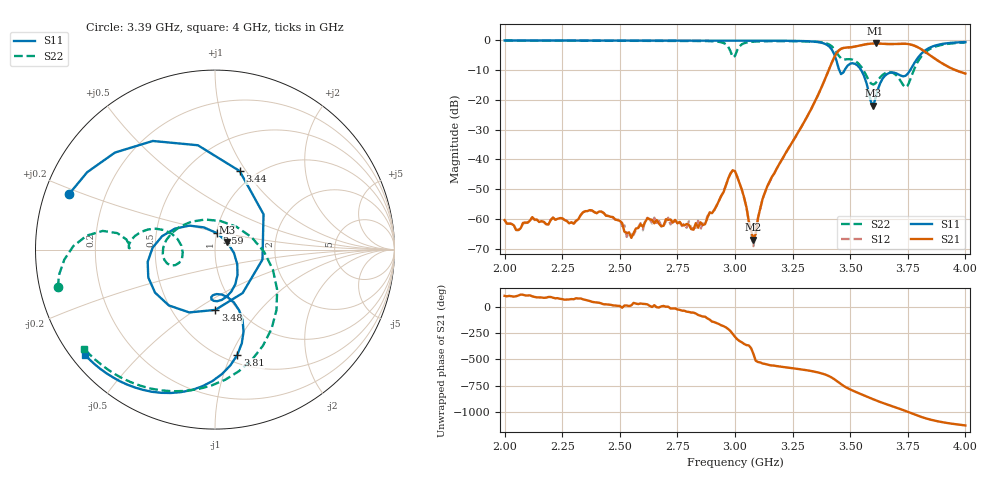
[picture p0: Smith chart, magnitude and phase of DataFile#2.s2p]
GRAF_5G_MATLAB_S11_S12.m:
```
%% LIMPIEZA
clc; clear; close all;

%% 1. LEER ARCHIVO
filename = 'DataFile#2.s2p';
s = sparameters(filename);

f = s.Frequencies;

S11 = squeeze(s.Parameters(1,1,:));
S12 = squeeze(s.Parameters(1,2,:));

%% 2. CONVERSIONES
S11_dB = 20*log10(abs(S11));
S12_dB = 20*log10(abs(S12));

% Métricas
IL = -S12_dB;      % Pérdida de inserción
RL = -S11_dB;      % Return Loss

% VSWR
S11_mag = abs(S11);
VSWR = (1 + S11_mag) ./ (1 - S11_mag);

%% 3. GRAFICAS S11 Y S12
%% Calculo de -3 dB usando S12
mag = S12_dB;

[peak, idx] = max(mag);
f0 = f(idx);

nivel_3dB = peak - 3;

indices = find(mag >= nivel_3dB);

f_low = f(indices(1));
f_high = f(indices(end));

%% Obtener valores en S11 en esas frecuencias
S11_f0   = interp1(f, S11_dB, f0);
S11_flow = interp1(f, S11_dB, f_low);
S11_fhigh= interp1(f, S11_dB, f_high);

%% GRAFICAS
figure;

% ---- S11 ----
subplot(2,1,1)
plot(f, S11_dB, 'b', 'LineWidth', 1.5); hold on
grid on
set(gca,'XScale','log')

% Líneas verticales
xline(f0,'--g')
xline(f_low,'--r')
xline(f_high,'--r')

% Marcadores (tipo cursor)
plot(f0, S11_f0, 'go','MarkerFaceColor','g')
plot(f_low, S11_flow, 'ro','MarkerFaceColor','r')
plot(f_high, S11_fhigh, 'ro','MarkerFaceColor','r')

% Etiquetas con valores
%text(f0, S11_f0, sprintf('  f0=%.2f Hz',f0))
%text(f_low, S11_flow, sprintf('  %.2f Hz',f_low))
%text(f_high, S11_fhigh, sprintf('  %.2f Hz',f_high))

xlabel('Frecuencia (Hz)')
ylabel('|S11| (dB)')
title('S11 (Adaptación)')

% ---- S12 ----
subplot(2,1,2)
plot(f, S12_dB, 'r','LineWidth',1.5); hold on
set(gca,'XScale','log')
grid on

% Línea -3 dB
yline(nivel_3dB,'--k','-3 dB')

% Líneas verticales
xline(f0,'--g')
xline(f_low,'--r')
xline(f_high,'--r')

% Marcadores
plot(f0, peak, 'go','MarkerFaceColor','g')
plot(f_low, nivel_3dB, 'ro','MarkerFaceColor','r')
plot(f_high, nivel_3dB, 'ro','MarkerFaceColor','r')

% Etiquetas
%text(f0, peak, sprintf('  f0=%.2f Hz',f0))
%text(f_low, nivel_3dB, sprintf('  %.2f Hz',f_low))
%text(f_high, nivel_3dB, sprintf('  %.2f Hz',f_high))

xlabel('Frecuencia (Hz)')
ylabel('|S12| (dB)')
title('S12 (Transmisión)')
legend('S12','-3 dB','Location','best')

%% Sincronizar ejes
linkaxes(findall(gcf,'Type','axes'),'x')

%% Mostrar resultados
fprintf('f0 = %.2f Hz\n', f0);
fprintf('f_low = %.2f Hz\n', f_low);
fprintf('f_high = %.2f Hz\n', f_high);

%% 4. CALCULO DE Q Y BW
mag = S12_dB;

[peak, idx] = max(mag);
f0 = f(idx);

nivel_3dB = peak - 3;

indices = find(mag >= nivel_3dB);

f_low = f(indices(1));
f_high = f(indices(end));

BW = f_high - f_low;
BW = 0.38E9
Q = f0 / BW;

%% 5. MOSTRAR RESULTADOS
fprintf('----- Results -----\n');
fprintf('Center frequency %.2f Hz\n', f0);
fprintf('Bandwidth (-3 dB): %.2f Hz\n', BW);
fprintf('Q factor: %.2f\n', Q);

%% 6. GRAFICA IL CON ANALISIS DE BANDA
figure;
plot(f, IL, 'r','LineWidth',1.5); hold on
set(gca,'XScale','log')
grid on

% Línea -3 dB (en IL es positivo)
yline(-nivel_3dB,'--k')

% Líneas verticales
xline(f0,'--g')
xline(f_low,'--b')
xline(f_high,'--b')

% ---- Marcadores (puntos) ----
% Punto central
plot(f0, IL(idx), 'go','MarkerFaceColor','g','MarkerSize',8)

% Puntos de corte (-3 dB)
plot(f_low, -nivel_3dB, 'bo','MarkerFaceColor','b','MarkerSize',8)
plot(f_high, -nivel_3dB, 'bo','MarkerFaceColor','b','MarkerSize',8)

xlabel('Frecuencia (Hz)')
ylabel('Pérdida de Inserción (dB)')
title('Pérdida de Inserción y Ancho de Banda')
legend('IL','-3 dB','Location','best')

%% Encontrar rango donde VSWR < 2
idx_vswr = find(VSWR < 2);

% Verificar que exista ese rango
if ~isempty(idx_vswr)
    f_low_vswr = f(idx_vswr(1));
    f_high_vswr = f(idx_vswr(end));
else
    disp('No hay rango donde VSWR < 2');
end

%% Grafica
figure;
plot(f, VSWR, 'k', 'LineWidth', 1.5); hold on
set(gca,'XScale','log')
grid on

% Línea de referencia VSWR = 2
yline(2, '--b', 'VSWR = 2');

% Resaltar región válida
if ~isempty(idx_vswr)
    area(f(idx_vswr), VSWR(idx_vswr), ...
        'FaceColor',[1 0 0], 'EdgeColor','none', 'FaceAlpha',0.5);
end

xlabel('Frecuencia (Hz)')
ylabel('VSWR')
title('VSWR vs Frecuencia (Región VSWR < 2 resaltada)')
legend('VSWR','Límite VSWR=2','Región válida','Location','best')

%% Mostrar rango en consola
if ~isempty(idx_vswr)
    fprintf('Rango con VSWR < 2:\n');
    fprintf('Desde %.2f Hz hasta %.2f Hz\n', f_low_vswr, f_high_vswr);
end



%% FIGURA GENERAL
figure;

%% ---- 1. S11 ----
subplot(2,2,1)
plot(f, S11_dB, 'b', 'LineWidth', 1.5, 'DisplayName','S11'); hold on
set(gca,'XScale','log')
grid on

xline(f0,'--g','DisplayName','f_0')
xline(f_low,'--r','DisplayName','f_{low}')
xline(f_high,'--r','DisplayName','f_{high}')

plot(f0, S11_f0, 'go','MarkerFaceColor','g','DisplayName','Point f_0')
plot(f_low, S11_flow, 'ro','MarkerFaceColor','r','DisplayName','Cut point')
plot(f_high, S11_fhigh, 'ro','MarkerFaceColor','r','HandleVisibility','off')

title('S11')
xlabel('Frequency (Hz)')
ylabel('|S11| (dB)')
legend show

%% ---- 2. S12 ----
subplot(2,2,2)
plot(f, S12_dB, 'r', 'LineWidth', 1.5, 'DisplayName','S12'); hold on
set(gca,'XScale','log')
grid on

yline(nivel_3dB,'--k','DisplayName','-3 dB')

xline(f0,'--g','DisplayName','f_0')
xline(f_low,'--b','DisplayName','f_{low}')
xline(f_high,'--b','HandleVisibility','off')

plot(f0, peak, 'go','MarkerFaceColor','g','DisplayName','Point f_0')
plot(f_low, nivel_3dB, 'bo','MarkerFaceColor','b','DisplayName','Cut point')
plot(f_high, nivel_3dB, 'bo','MarkerFaceColor','b','HandleVisibility','off')

title('S12')
xlabel('Frequency (Hz)')
ylabel('|S12| (dB)')
legend show

%% ---- 3. IL ----
subplot(2,2,3)
plot(f, IL, 'r','LineWidth',1.5,'DisplayName','IL'); hold on
set(gca,'XScale','log')
grid on

yline(-nivel_3dB,'--k','DisplayName','-3 dB')

xline(f0,'--g','DisplayName','f_0')
xline(f_low,'--b','DisplayName','f_{low}')
xline(f_high,'--b','HandleVisibility','off')

plot(f0, IL(idx), 'go','MarkerFaceColor','g','DisplayName','Point f_0')
plot(f_low, -nivel_3dB, 'bo','MarkerFaceColor','b','DisplayName','Cut point')
plot(f_high, -nivel_3dB, 'bo','MarkerFaceColor','b','HandleVisibility','off')

title('Insertion Loss')
xlabel('Frequency (Hz)')
ylabel('IL (dB)')
legend show

%% ---- 4. VSWR ----
subplot(2,2,4)
plot(f, VSWR, 'k','LineWidth',1.5,'DisplayName','VSWR'); hold on
set(gca,'XScale','log')
grid on

yline(2,'--b','DisplayName','VSWR = 2')

if ~isempty(idx_vswr)
    area(f(idx_vswr), VSWR(idx_vswr),10, ...
        'FaceColor',[1 0 0], ...
        'EdgeColor','none', ...
        'FaceAlpha',0.6, ...
        'DisplayName','VSWR < 2');
end

title('VSWR')
xlabel('Frequency (Hz)')
ylabel('VSWR (u/u)')
legend show

%% SINCRONIZAR EJES
linkaxes(findall(gcf,'Type','axes'),'x')



%% 8. EXPORTAR A EXCEL
T = table(f, S11_dB, S12_dB, IL, RL, VSWR);
T.Properties.VariableNames = {'Frecuencia_Hz','S11_dB','S12_dB','InsertionLoss_dB','ReturnLoss_dB','VSWR'};

writetable(T, 'C:\Users\JUBITO\Videos\Resultados_Sparam.xlsx');
disp('Datos exportados correctamente a Excel')
```
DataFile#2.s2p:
! 3/9/2023 9:26:57 AM
! D:\FILTRO\DATAFILE#2.S2P
! CHANNEL.1
! TR.MEASUREMENT
! CORRECTED.DATA
! RF.CORRECTION: FULL.TWO.PORT.CAL.PORT.1.2
! AVERAGING.OFF
! IF.BANDWIDTH: 1KHZ
! SWEEPTYPE:  FREQ.SWEEP(Linear)
! Reference Plane Port Info
! PORT:  PORT1  PORT2
! DISTANCE:  0  m  0  m
! TIME:  0  s  0  s
! PHASE.OFFSET:  0 deg  0 deg
! LOSS:  0  dB  0  dB
! REF.LOSS:  0  dB  0  dB
! REF.FREQ:  0  Hz  0  Hz
! Power Info
! POWER:  5  dBm  5  dBm
! EFF.POWER:  5  dBm  5  dBm
! SOURCE.ATTEN:  0  dB  0  dB
! TEST.ATTEN:  0  dB  0  dB
# GHZ S RI R 50.0
! FREQ.GHZ  S11RE  S11IM  S21RE  S21IM  S12RE  S12IM  S22RE  S22IM
!; PortSelection: Port_12
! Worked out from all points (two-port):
!   201 points, 2 GHz to 4 GHz, reference 50 ohm
!   highest |S21| = -1.09 dB at 3.61 GHz (marker M1); lowest = -66.9 dB at 3.08 GHz (marker M2)
!   |S21| within 3 dB of the highest: 3.444 GHz to 3.829 GHz (385.3 MHz wide, 10.6 % of centre)
!   lowest |S11| = -22.0 dB at 3.6 GHz (marker M3), VSWR 1.17, Z = 57 + j4.83 ohm
!   |S11| at or under -10 dB: 3.453 GHz to 3.476 GHz (23.52 MHz wide, 0.679 % of centre); 3.547 GHz to 3.761 GHz (213.7 MHz wide, 5.85 % of centre)
!   |S22| runs from -15.8 to -0.1 dB; largest |S21 - S12| = 0.0039
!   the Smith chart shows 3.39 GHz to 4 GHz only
!   S11 on the Smith chart (normalised r, x): 3.39 GHz: 0.07, +0.18; 3.44 GHz: 0.84, +0.94; 3.48 GHz: 0.80, -0.61; 3.59 GHz: 1.00, +0.19; 3.81 GHz: 0.58, -1.06; 4 GHz: 0.04, -0.35
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2  0.945 0.295  -0.000281 0.000914  -0.000281 0.00092  0.9491 0.263
3  -0.0331 -0.9862  0.00154 0.00616  0.00154 0.00605  0.0823 -0.5393
3.08  -0.2362 -0.9573  1.65e-05 -0.000451  1.98e-05 -0.000349  -0.1076 -0.9397
3.39  -0.8148 0.3072  0.0492 0.2129  0.0498 0.2139  -0.8769 -0.2102
3.44  0.1376 0.4376  0.5723 0.176  0.572 0.1765  -0.6251 0.1041
3.48  0.00148 -0.336  0.5418 -0.5198  0.5407 -0.5202  -0.4766 0.00717
3.59  0.0103 0.0917  -0.7668 -0.4232  -0.7698 -0.4215  -0.187 0.0214
3.6  0.0675 0.0421  -0.828 -0.2995  -0.8286 -0.2963  -0.1795 -0.0155
3.61  0.1058 -0.0189  -0.8652 -0.1694  -0.8635 -0.1672  -0.1837 -0.0489
3.81  0.124 -0.5869  0.6023 0.3563  0.6015 0.3564  0.315 -0.4419
4  -0.724 -0.5863  0.1777 -0.2105  0.1782 -0.21  -0.7278 -0.5533
